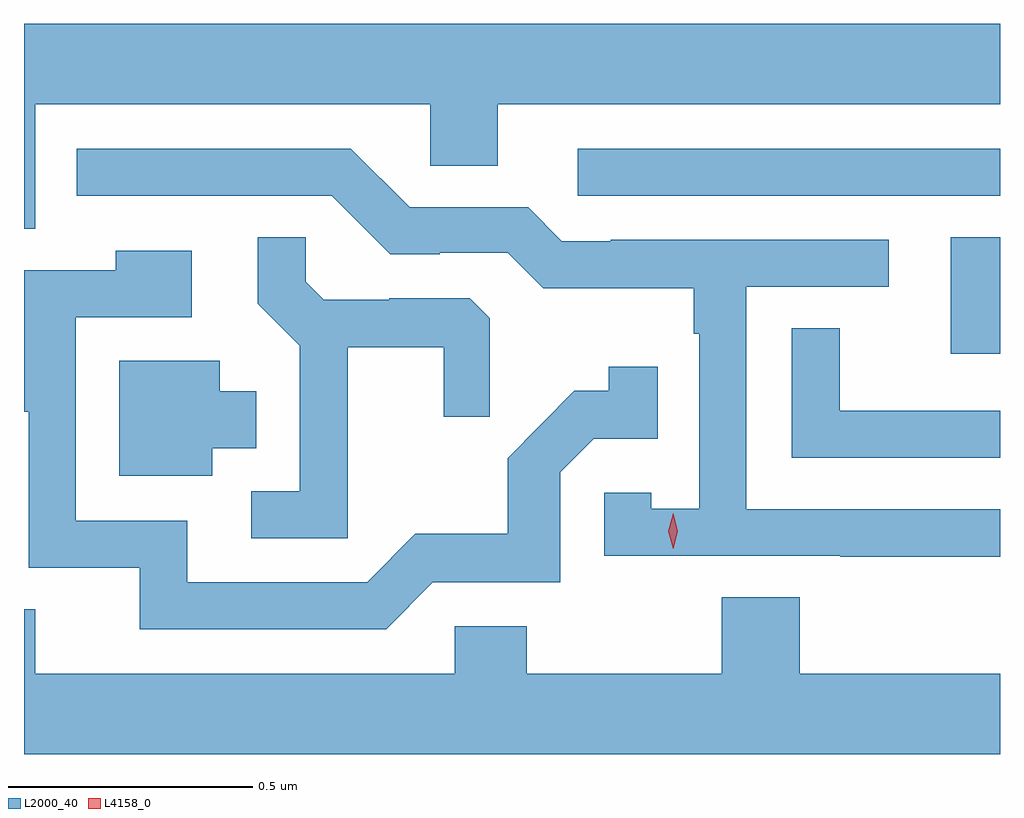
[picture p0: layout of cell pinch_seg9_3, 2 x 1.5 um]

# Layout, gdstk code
import gdstk
lib = gdstk.Library(unit=1e-6, precision=1e-09)
def R(c, l, rs):  # rectangles x0, y0, x1, y1
    for r in rs: c.add(gdstk.rectangle(r[:2], r[2:], *l))
def P(c, l, *ps):  # polygons
    for p in ps: c.add(gdstk.Polygon(p, *l))
L2000_40 = (2000, 40)
L4158_0 = (4158, 0)

pinch_seg9_3 = lib.new_cell('pinch_seg9_3')
R(pinch_seg9_3, L2000_40, [(1060.793,1227.876,1060.894,1228.115), (1060.029,1228.2,1060.894,1228.296)])
P(pinch_seg9_3, L2000_40, [(1058.917,1228.388),(1059.726,1228.388),(1059.726,1228.261),(1059.865,1228.261),(1059.865,1228.388),(1060.894,1228.388),(1060.894,1228.552),(1058.894,1228.552),(1058.894,1228.132),(1058.917,1228.132)],
  [(1060.894,1227.558),(1060.374,1227.558),(1060.374,1228.014),(1060.666,1228.014),(1060.666,1228.11),(1060.096,1228.11),(1060.096,1228.107),(1059.996,1228.107),(1059.927,1228.176),(1059.684,1228.176),(1059.564,1228.296),(1059.002,1228.296),(1059.002,1228.2),(1059.525,1228.2),(1059.645,1228.08),(1059.746,1228.08),(1059.746,1228.083),(1059.885,1228.083),(1059.958,1228.01),(1060.266,1228.01),(1060.266,1227.917),(1060.278,1227.917),(1060.278,1227.559),(1060.179,1227.559),(1060.179,1227.591),(1060.083,1227.591),(1060.083,1227.462),(1060.567,1227.462),(1060.567,1227.46),(1060.894,1227.46)],
  [(1059.557,1227.89),(1059.754,1227.89),(1059.754,1227.747),(1059.848,1227.747),(1059.848,1227.949),(1059.807,1227.99),(1059.642,1227.99),(1059.642,1227.987),(1059.508,1227.987),(1059.471,1228.024),(1059.471,1228.115),(1059.373,1228.115),(1059.373,1227.979),(1059.459,1227.893),(1059.459,1227.594),(1059.36,1227.594),(1059.36,1227.498),(1059.557,1227.498)],
  [(1059.732,1227.408),(1059.993,1227.408),(1059.993,1227.633),(1060.062,1227.702),(1060.193,1227.702),(1060.193,1227.85),(1060.092,1227.85),(1060.092,1227.8),(1060.022,1227.8),(1059.885,1227.662),(1059.885,1227.507),(1059.696,1227.507),(1059.597,1227.408),(1059.229,1227.408),(1059.229,1227.534),(1059,1227.534),(1059,1227.951),(1059.238,1227.951),(1059.238,1228.087),(1059.082,1228.087),(1059.082,1228.047),(1058.894,1228.047),(1058.894,1227.757),(1058.904,1227.757),(1058.904,1227.438),(1059.131,1227.438),(1059.131,1227.312),(1059.636,1227.312)],
  [(1060.894,1227.759),(1060.566,1227.759),(1060.566,1227.929),(1060.467,1227.929),(1060.467,1227.663),(1060.894,1227.663)],
  [(1059.28,1227.683),(1059.37,1227.683),(1059.37,1227.799),(1059.295,1227.799),(1059.295,1227.862),(1059.089,1227.862),(1059.089,1227.626),(1059.28,1227.626)],
  [(1060.894,1227.22),(1060.484,1227.22),(1060.484,1227.377),(1060.324,1227.377),(1060.324,1227.22),(1059.924,1227.22),(1059.924,1227.318),(1059.777,1227.318),(1059.777,1227.22),(1058.917,1227.22),(1058.917,1227.353),(1058.894,1227.353),(1058.894,1227.056),(1060.894,1227.056)])
P(pinch_seg9_3, L4158_0, [(1060.224,1227.477),(1060.224,1227.477),(1060.214,1227.513),(1060.224,1227.549),(1060.224,1227.549),(1060.224,1227.549),(1060.234,1227.513),(1060.224,1227.477)])

lib.write_gds('pinch_seg9_3.gds')
